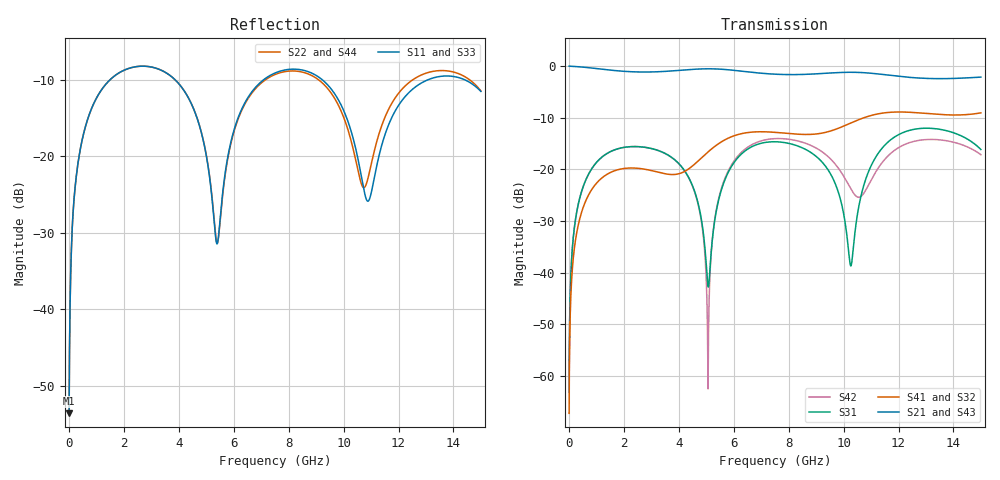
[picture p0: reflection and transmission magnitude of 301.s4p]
! Created with skrf 1.8.0 (http://scikit-rf.org).
# GHz S RI R 50.0
!freq ReS11 ImS11 ReS12 ImS12 ReS13 ImS13
! ReS14 ImS14
! ReS21 ImS21 ReS22 ImS22 ReS23 ImS23
! ReS24 ImS24
! ReS31 ImS31 ReS32 ImS32 ReS33 ImS33
! ReS34 ImS34
! ReS41 ImS41 ReS42 ImS42 ReS43 ImS43
! ReS44 ImS44
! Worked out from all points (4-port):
!   2499 points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, 5 MHz to 15 GHz, reference 50 ohm
!   strongest paths, dB at 5 MHz, 3.476 GHz, 7.19 GHz, 11.1 GHz, 15 GHz:
!     S21: 0.0, -1.0, -1.5, -1.4, -2.1
!     S43: 0.0, -1.0, -1.5, -1.4, -2.1
!     S41: -67.2, -20.8, -12.7, -9.4, -9.1
!     S32: -67.2, -20.8, -12.7, -9.4, -9.0
!     S31: -63.1, -16.8, -14.7, -18.3, -16.1
!     S42: -63.1, -16.9, -14.2, -21.1, -17.2
!   lowest |S11| = -53.6 dB at 5 MHz (marker M1), VSWR 1.00, Z = 50.2 + j0.126 ohm
!   |S11| at or under -10 dB: start of sweep to 1.491 GHz; 3.867 GHz to 7.081 GHz (3.214 GHz wide, 58.7 % of centre); 9.23 GHz to 13.06 GHz (3.831 GHz wide, 34.4 % of centre) (the widest 3 of 4)
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0.005  0.00166 0.00126  0.9983 -0.00323  8.46e-05 0.000693  -8.19e-05 -0.000429
       0.9983 -0.00323  0.00166 0.00126  -8.19e-05 -0.000429  8.46e-05 0.000693
       8.46e-05 0.000693  -8.19e-05 -0.000429  0.00166 0.00126  0.9983 -0.00323
       -8.19e-05 -0.000429  8.46e-05 0.000693  0.9983 -0.00323  0.00166 0.00126
0.3126303  0.0245 0.0825  0.9664 -0.2007  0.0118 0.0411  -0.00976 -0.0251
           0.9664 -0.2007  0.0245 0.0825  -0.00976 -0.0251  0.0118 0.0411
           0.0118 0.0411  -0.00976 -0.0251  0.0245 0.0825  0.9665 -0.2007
           -0.00976 -0.0251  0.0118 0.0411  0.9665 -0.2007  0.0245 0.0825
1.519383  0.2659 0.1776  0.5559 -0.7248  0.1335 0.0665  -0.0935 -0.00711
          0.5559 -0.7248  0.266 0.1775  -0.0935 -0.00711  0.1335 0.0665
          0.1335 0.0665  -0.0935 -0.00711  0.266 0.1776  0.5559 -0.7248
          -0.0935 -0.00711  0.1335 0.0665  0.5559 -0.7248  0.2661 0.1775
5.058358  0.0413 -0.0771  -0.9025 -0.268  -0.00713 -0.00235  -0.0375 0.1424
          -0.9025 -0.268  0.0416 -0.0781  -0.0373 0.1425  -0.00072 -0.0007
          -0.00713 -0.00235  -0.0373 0.1425  0.0423 -0.078  -0.9023 -0.2682
          -0.0375 0.1424  -0.00072 -0.0007  -0.9023 -0.2682  0.0412 -0.0794
6.427678  0.1597 0.1625  -0.7601 0.4523  0.1191 0.0946  0.1481 0.1704
          -0.7601 0.4523  0.157 0.1591  0.1483 0.1701  0.1334 0.0855
          0.1191 0.0946  0.1483 0.1701  0.1602 0.1608  -0.7604 0.4524
          0.1481 0.1704  0.1334 0.0855  -0.7604 0.4524  0.1553 0.1588
10.82951  0.0503 -0.014  0.8482 0.1445  0.0416 0.0728  0.0452 -0.3191
          0.8482 0.1445  0.0636 0.0175  0.0448 -0.3189  -0.0362 0.0536
          0.0416 0.0728  0.0448 -0.3189  0.0508 -0.0192  0.8481 0.1448
          0.0452 -0.3191  -0.0362 0.0536  0.8481 0.1448  0.0642 0.0126
15  0.2293 -0.1346  -0.3858 -0.6804  0.0551 -0.1459  -0.2815 0.2126
    -0.3858 -0.6804  0.2095 -0.1669  -0.2816 0.2125  0.0299 -0.1356
    0.0551 -0.1459  -0.2816 0.2125  0.217 -0.1295  -0.3942 -0.6799
    -0.2815 0.2126  0.0299 -0.1356  -0.3942 -0.6799  0.1959 -0.162
